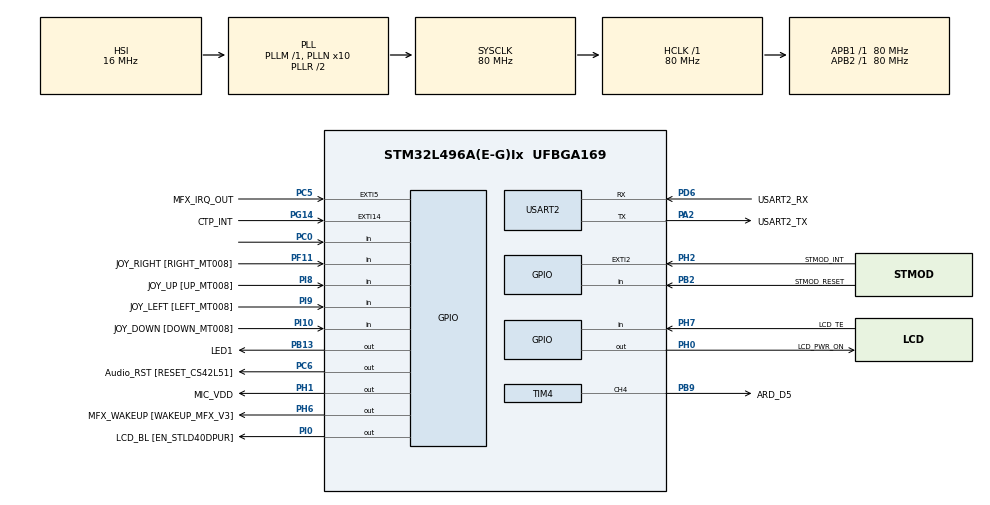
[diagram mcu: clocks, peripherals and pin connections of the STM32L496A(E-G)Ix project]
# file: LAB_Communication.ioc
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Mcu.Family=STM32L4
Mcu.Name=STM32L496A(E-G)Ix
Mcu.Package=UFBGA169
NVIC.PriorityGroup=NVIC_PRIORITYGROUP_4
NVIC.TIM3_IRQn=true\:1\:0\:true\:false\:true\:true\:true
NVIC.USART2_IRQn=true\:0\:0\:false\:false\:true\:true\:true
PA0.GPIO_Label=STMOD_PWM
PA0.Signal=SYS_WKUP1
PA1.GPIO_Label=ARD_A4
PA1.Signal=ADCx_IN6
PA10.GPIO_Label=USB_OTGFS_ID
PA10.Signal=USB_OTG_FS_ID
PA11.GPIO_Label=USB_OTGFS_DM
PA11.Signal=USB_OTG_FS_DM
PA12.GPIO_Label=USB_OTGFS_DP
PA12.Signal=USB_OTG_FS_DP
PA13\ (JTMS/SWDIO).GPIO_Label=SWDIO
PA13\ (JTMS/SWDIO).Mode=Serial_Wire
PA13\ (JTMS/SWDIO).Signal=SYS_JTMS-SWDIO
PA14\ (JTCK/SWCLK).GPIO_Label=SWCLK
PA14\ (JTCK/SWCLK).Mode=Serial_Wire
PA14\ (JTCK/SWCLK).Signal=SYS_JTCK-SWCLK
PA15\ (JTDI).GPIO_Label=ARD_D10
PA15\ (JTDI).Signal=SPI1_NSS
PA2.GPIO_Label=USART2_TX
PA2.Mode=Asynchronous
PA2.Signal=USART2_TX
PA3.GPIO_Label=QSPI_CLK [MX25R6435FM2IL0_SCLK]
PA3.Signal=QUADSPI_CLK
PA4.GPIO_Label=STMOD_ADC
PA4.Signal=ADCx_IN9
PA5.GPIO_Label=ARD_D13
PA5.Signal=SPI1_SCK
PA6.GPIO_Label=QSPI_BK1_IO3 [MX25R6435FM2IL0_SIO3]
PA6.Signal=QUADSPI_BK1_IO3
PA7.GPIO_Label=QSPI_BK1_IO2 [MX25R6435FM2IL0_SIO2]
PA7.Signal=QUADSPI_BK1_IO2
PA8.GPIO_Label=DCMI_CLK
PA8.Signal=LPTIM2_OUT
PA9.GPIO_Label=USB_OTGFS_VBUS
PA9.Signal=USB_OTG_FS_VBUS
PB0.GPIO_Label=QSPI_BK1_IO1 [MX25R6435FM2IL0_SIO1]
PB0.Signal=QUADSPI_BK1_IO1
PB1.GPIO_Label=QSPI_BK1_IO0 [MX25R6435FM2IL0_SIO0]
PB1.Signal=QUADSPI_BK1_IO0
PB10.GPIO_Label=SAI1_CKA [SLCK_CS42L51]
PB10.Signal=SAI1_SCK_A
PB11.GPIO_Label=QSPI_BK1_NCS [MX25R6435FM2IL0_CS]
PB11.Signal=QUADSPI_BK1_NCS
PB12.GPIO_Label=DFDATIN1
PB12.Signal=S_DATAIN1DFSDM1
PB13.GPIO_Label=LED1
PB13.GPIO_ModeDefaultOutputPP=GPIO_MODE_OUTPUT_OD
PB13.GPIO_PuPd=GPIO_NOPULL
PB13.Signal=GPIO_Output
PB14.GPIO_Label=I2C2_SDA [CS42L51_SDA]
PB14.Signal=I2C2_SDA
PB15.GPIO_Label=SPI2_MOSI
PB15.Signal=SPI2_MOSI
PB2.GPIO_Label=STMOD_RESET
PB2.Signal=GPIO_Input
PB3\ (JTDO/TRACESWO).GPIO_Label=SWO
PB3\ (JTDO/TRACESWO).Signal=SYS_JTDO-SWO
PB4\ (NJTRST).GPIO_Label=ARD_D12
PB4\ (NJTRST).Signal=SPI1_MISO
PB5.GPIO_Label=ARD_D11
PB5.Signal=SPI1_MOSI
PB6.GPIO_Label=USART1_TX
PB6.Signal=USART1_TX
PB7.GPIO_Label=I2C1_SDA
PB7.Signal=I2C1_SDA
PB8.GPIO_Label=I2C1_SCL
PB8.Signal=I2C1_SCL
PB9.GPIO_Label=ARD_D5
PB9.Signal=S_TIM4_CH4
PC0.GPIO_PuPd=GPIO_NOPULL
PC0.Signal=GPIO_Input
PC1.Signal=ADCx_IN2
PC10.GPIO_Label=uSD_D2
PC10.Signal=SDMMC1_D2
PC11.GPIO_Label=uSD_D3
PC11.Signal=SDMMC1_D3
PC12.GPIO_Label=uSD_CLK
PC12.Signal=SDMMC1_CK
PC13.GPIO_Label=JOY_SEL [Selection_MT008]
PC13.Signal=SYS_WKUP2
PC14-OSC32_IN\ (PC14).Mode=LSE-External-Oscillator
PC14-OSC32_IN\ (PC14).Signal=RCC_OSC32_IN
PC15-OSC32_OUT\ (PC15).Mode=LSE-External-Oscillator
PC15-OSC32_OUT\ (PC15).Signal=RCC_OSC32_OUT
PC2.GPIO_Label=DF_CKOUT
PC2.Signal=S_CKOUTDFSDM1
PC3.GPIO_Label=ARD_A2
PC3.Signal=ADCx_IN4
PC4.GPIO_Label=ARD_A0
PC4.Signal=ADCx_IN13
PC5.GPIO_Label=MFX_IRQ_OUT
PC5.Signal=GPXTI5
PC6.GPIO_Label=Audio_RST [RESET_CS42L51]
PC6.Signal=GPIO_Output
PC7.GPIO_Label=DATIN3 [DOUT_MP34DT01TR]
PC7.Signal=S_DATAIN3DFSDM1
PC8.GPIO_Label=uSD_D0
PC8.Signal=SDMMC1_D0
PC9.GPIO_Label=uSD_D1
PC9.Signal=SDMMC1_D1
PD0.GPIO_Label=D2 [D2_ IS66WV51216EBLL]
PD0.Signal=FMC_D2_DA2
PD1.GPIO_Label=D3 [D3_IS66WV51216EBLL]
PD1.Signal=FMC_D3_DA3
PD10.GPIO_Label=D15 [D15_IS66WV51216EBLL]
PD10.Signal=FMC_D15_DA15
PD11.GPIO_Label=PSRAM_A16 [A16_IS66WV51216EBLL]
PD11.Signal=FMC_A16_CLE
PD12.GPIO_Label=PSRAM_A17 [A17_IS66WV51216EBLL]
PD12.Signal=FMC_A17_ALE
PD13.GPIO_Label=PSRAM_A18_LCD_RS [A18_IS66WV51216EBLL]
PD13.Signal=FMC_A18
PD14.GPIO_Label=D0 [D0_IS66WV51216EBLL]
PD14.Signal=FMC_D0_DA0
PD15.GPIO_Label=D1 [D1_IS66WV51216EBLL]
PD15.Signal=FMC_D1_DA1
PD2.GPIO_Label=uSD_CMD
PD2.Signal=SDMMC1_CMD
PD4.GPIO_Label=OE [OE_IS66WV51216EBLL]
PD4.Signal=FMC_NOE
PD5.GPIO_Label=WE [WE_IS66WV51216EBLL]
PD5.Signal=FMC_NWE
PD6.GPIO_Label=USART2_RX
PD6.Mode=Asynchronous
PD6.Signal=USART2_RX
PD7.GPIO_Label=LCD_NE
PD7.Signal=FMC_NE1
PD8.GPIO_Label=D13 [D13_IS66WV51216EBLL]
PD8.Signal=FMC_D13_DA13
PD9.GPIO_Label=D14 [D14_IS66WV51216EBLL]
PD9.Signal=FMC_D14_DA14
PE0.GPIO_Label=PSRAM_NBL0 [LB_IS66WV51216EBLL]
PE0.Signal=FMC_NBL0
PE1.GPIO_Label=PSRAM_NBL1 [UB_IS66WV51216EBLL]
PE1.Signal=FMC_NBL1
PE10.GPIO_Label=D7 [D7_IS66WV51216EBLL]
PE10.Signal=FMC_D7_DA7
PE11.GPIO_Label=D8  [D8_IS66WV51216EBLL]
PE11.Signal=FMC_D8_DA8
PE12.GPIO_Label=D9 [D9_IS66WV51216EBLL]
PE12.Signal=FMC_D9_DA9
PE13.GPIO_Label=D10 [D10_IS66WV51216EBLL]
PE13.Signal=FMC_D10_DA10
PE14.GPIO_Label=D11 [D11_IS66WV51216EBLL]
PE14.Signal=FMC_D11_DA11
PE15.GPIO_Label=D12 [D12_IS66WV51216EBLL]
PE15.Signal=FMC_D12_DA12
PE2.GPIO_Label=SAI1_MCKA [MCLK_CS42L51]
PE2.Signal=SAI1_MCLK_A
PE3.GPIO_Label=SAI1_SDB [SDOUT_CS42L51]
PE3.Signal=SAI1_SD_B
PE4.GPIO_Label=SAI1_FSA [LRCK_CS42L51]]
PE4.Signal=SAI1_FS_A
PE5.GPIO_Label=DCMI_D6
PE5.Signal=DCMI_D6
PE6.GPIO_Label=SAI1_SDA [SDIN_CS42L51]
PE6.Signal=SAI1_SD_A
PE7.GPIO_Label=D4 [D4_IS66WV51216EBLL]
PE7.Signal=FMC_D4_DA4
PE8.GPIO_Label=D5 [D5_IS66WV51216EBLL]
PE8.Signal=FMC_D5_DA5
PE9.GPIO_Label=D6 [D6_IS66WV51216EBLL]
PE9.Signal=FMC_D6_DA6
PF0.GPIO_Label=PSRAM_A0 [A0_IS66WV51216EBLL]
PF0.Signal=FMC_A0
PF1.GPIO_Label=PSRAM_A1 [A1_IS66WV51216EBLL]
PF1.Signal=FMC_A1
PF10.GPIO_Label=ARD_A3
PF10.Signal=ADC3_IN13
PF11.GPIO_Label=JOY_RIGHT [RIGHT_MT008]
PF11.GPIO_PuPd=GPIO_PULLDOWN
PF11.Signal=GPIO_Input
PF12.GPIO_Label=PSRAM_A6 [A6_IS66WV51216EBLL]
PF12.Signal=FMC_A6
PF13.GPIO_Label=PSRAM_A7 [A7_IS66WV51216EBLL]
PF13.Signal=FMC_A7
PF14.GPIO_Label=PSRAM_A8 [A8_IS66WV51216EBLL]
PF14.Signal=FMC_A8
PF15.GPIO_Label=PSRAM_A9 [A9_IS66WV51216EBLL]
PF15.Signal=FMC_A9
PF2.GPIO_Label=PSRAM_A2 [A2_IS66WV51216EBLL]
PF2.Signal=FMC_A2
PF3.GPIO_Label=PSRAM_A3 [A3_IS66WV51216EBLL]
PF3.Signal=FMC_A3
PF4.GPIO_Label=PSRAM_A4 [A4_IS66WV51216EBLL]
PF4.Signal=FMC_A4
PF5.GPIO_Label=PSRAM_A5 [A5_IS66WV51216EBLL]
PF5.Signal=FMC_A5
PG0.GPIO_Label=PSRAM_A10 [A10_IS66WV51216EBLL]
PG0.Signal=FMC_A10
PG1.GPIO_Label=PSRAM_A11 [A11_IS66WV51216EBLL]
PG1.Signal=FMC_A11
PG10.GPIO_Label=UART1_RX [STMOD+_UART]
PG10.Signal=USART1_RX
PG11.GPIO_Label=UART1_CTS [STMOD+_UART]
PG11.Signal=USART1_CTS
PG12.GPIO_Label=UART1_RTS [STMOD+_UART]
PG12.Signal=USART1_RTS
PG14.GPIO_Label=CTP_INT
PG14.Signal=GPXTI14
PG2.GPIO_Label=PSRAM_A12 [A12_IS66WV51216EBLL]
PG2.Signal=FMC_A12
PG3.GPIO_Label=PSRAM_A13 [A13_IS66WV51216EBLL]
PG3.Signal=FMC_A13
PG4.GPIO_Label=PSRAM_A14 [A14_IS66WV51216EBLL]
PG4.Signal=FMC_A14
PG5.GPIO_Label=PSRAM_A15 [A15_IS66WV51216EBLL]
PG5.Signal=FMC_A15
PG7.GPIO_Label=ARD_D1
PG7.Signal=LPUART1_TX
PG8.GPIO_Label=ARD_D0
PG8.Signal=LPUART1_RX
PG9.GPIO_Label=PSRAM_NE [CS1_IS66WV51216EBLL]
PG9.Signal=FMC_NE2
PH0-OSC_IN\ (PH0).GPIO_Label=LCD_PWR_ON
PH0-OSC_IN\ (PH0).Signal=GPIO_Output
PH1-OSC_OUT\ (PH1).GPIO_Label=MIC_VDD
PH1-OSC_OUT\ (PH1).Signal=GPIO_Output
PH10.GPIO_Label=DCMI_D1
PH10.Signal=DCMI_D1
PH11.GPIO_Label=DCMI_D2
PH11.Signal=DCMI_D2
PH12.GPIO_Label=DCMI_D3
PH12.Signal=DCMI_D3
PH13.GPIO_Label=ARD_D9
PH13.Signal=TIM8_CH1N
PH14.GPIO_Label=DCMI_D4
PH14.Signal=DCMI_D4
PH15.GPIO_Label=ARD_D3
PH15.Signal=TIM8_CH3N
PH2.GPIO_Label=STMOD_INT
PH2.Signal=GPXTI2
PH4.GPIO_Label=I2C2_SCL [SCL_CS42L51]
PH4.Signal=I2C2_SCL
PH5.GPIO_Label=DCMI_PIXCK
PH5.Signal=DCMI_PIXCLK
PH6.GPIO_Label=MFX_WAKEUP [WAKEUP_MFX_V3]
PH6.Signal=GPIO_Output
PH7.GPIO_Label=LCD_TE
PH7.Signal=GPIO_Input
PH8.GPIO_Label=DCMI_HSYNC
PH8.Signal=DCMI_HSYNC
PH9.GPIO_Label=DCMI_D0
PH9.Signal=DCMI_D0
PI0.GPIO_Label=LCD_BL [EN_STLD40DPUR]
PI0.Signal=GPIO_Output
PI1.GPIO_Label=SPI2_CLK [STMOD+_SPI]
PI1.Signal=SPI2_SCK
PI10.GPIO_Label=JOY_DOWN [DOWN_MT008]
PI10.GPIO_PuPd=GPIO_PULLDOWN
PI10.Signal=GPIO_Input
PI2.GPIO_Label=SPI2_MISO [STMOD+_SPI]
PI2.Signal=SPI2_MISO
PI4.GPIO_Label=DCMI_D5
PI4.Signal=DCMI_D5
PI5.GPIO_Label=DCMI_VSYNC
PI5.Signal=DCMI_VSYNC
PI6.GPIO_Label=ARD_D6
PI6.Signal=S_TIM8_CH2
PI7.GPIO_Label=DCMI_D7
PI7.Signal=DCMI_D7
PI8.GPIO_Label=JOY_UP [UP_MT008]
PI8.GPIO_PuPd=GPIO_PULLDOWN
PI8.Signal=GPIO_Input
PI9.GPIO_Label=JOY_LEFT [LEFT_MT008]
PI9.GPIO_PuPd=GPIO_PULLDOWN
PI9.Signal=GPIO_Input
ProjectManager.HeapSize=0x2000
ProjectManager.StackSize=0x2000
ProjectManager.TargetToolchain=STM32CubeIDE
RCC.ADCFreq_Value=160000000
RCC.AHBFreq_Value=80000000
RCC.APB1Freq_Value=80000000
RCC.APB1TimFreq_Value=80000000
RCC.APB2Freq_Value=80000000
RCC.APB2TimFreq_Value=80000000
RCC.CortexFreq_Value=80000000
RCC.HCLKFreq_Value=80000000
RCC.HSE_VALUE=8000000
RCC.HSI48_VALUE=48000000
RCC.HSI_VALUE=16000000
RCC.MSIClockRange=RCC_MSIRANGE_9
RCC.MSI_VALUE=24000000
RCC.PLLN=10
RCC.PLLSAI1N=20
RCC.PLLSourceVirtual=RCC_PLLSOURCE_HSI
RCC.SYSCLKFreq_VALUE=80000000
RCC.SYSCLKSource=RCC_SYSCLKSOURCE_PLLCLK
RCC.USBFreq_Value=160000000
RCC.VCOOutputFreq_Value=160000000
SH.ADCx_IN13.0=ADC1_IN13
SH.ADCx_IN2.0=ADC2_IN2
SH.ADCx_IN4.0=ADC1_IN4
SH.ADCx_IN6.0=ADC2_IN6
SH.ADCx_IN9.0=ADC2_IN9
SH.FMC_A0.0=FMC_A0
SH.FMC_A1.0=FMC_A1
SH.FMC_A10.0=FMC_A10
SH.FMC_A11.0=FMC_A11
SH.FMC_A12.0=FMC_A12
SH.FMC_A13.0=FMC_A13
SH.FMC_A14.0=FMC_A14
SH.FMC_A15.0=FMC_A15
SH.FMC_A16_CLE.0=FMC_A16
SH.FMC_A17_ALE.0=FMC_A17
SH.FMC_A18.0=FMC_A18
SH.FMC_A2.0=FMC_A2
SH.FMC_A3.0=FMC_A3
SH.FMC_A4.0=FMC_A4
SH.FMC_A5.0=FMC_A5
SH.FMC_A6.0=FMC_A6
SH.FMC_A7.0=FMC_A7
SH.FMC_A8.0=FMC_A8
SH.FMC_A9.0=FMC_A9
SH.FMC_D0_DA0.0=FMC_D0
SH.FMC_D10_DA10.0=FMC_D10
SH.FMC_D11_DA11.0=FMC_D11
SH.FMC_D12_DA12.0=FMC_D12
SH.FMC_D13_DA13.0=FMC_D13
SH.FMC_D14_DA14.0=FMC_D14
SH.FMC_D15_DA15.0=FMC_D15
SH.FMC_D1_DA1.0=FMC_D1
SH.FMC_D2_DA2.0=FMC_D2
SH.FMC_D3_DA3.0=FMC_D3
SH.FMC_D4_DA4.0=FMC_D4
SH.FMC_D5_DA5.0=FMC_D5
SH.FMC_D6_DA6.0=FMC_D6
SH.FMC_D7_DA7.0=FMC_D7
SH.FMC_D8_DA8.0=FMC_D8
SH.FMC_D9_DA9.0=FMC_D9
SH.FMC_NBL0.0=FMC_NBL0
SH.FMC_NBL1.0=FMC_NBL1
SH.FMC_NOE.0=FMC_NOE
SH.FMC_NWE.0=FMC_NWE
SH.S_CKOUTDFSDM1.0=DFSDM1_CKOUT
SH.S_DATAIN1DFSDM1.0=DFSDM1_DATIN1
SH.S_DATAIN3DFSDM1.0=DFSDM1_DATIN3
SH.S_TIM4_CH4.0=TIM4_CH4,PWM Generation4 CH4
SH.S_TIM8_CH2.0=TIM8_CH2
TIM3.Period=9999
TIM3.Prescaler=79
TIM4.Channel-PWM\ Generation4\ CH4=TIM_CHANNEL_4
TIM4.Prescaler=79
TIM4.Pulse-PWM\ Generation4\ CH4=999
USART2.VirtualMode-Asynchronous=VM_ASYNC
VP_TIM3_VS_ClockSourceINT.Mode=Internal
VP_TIM4_VS_ClockSourceINT.Mode=Internal
board=STM32L496G-DISCO

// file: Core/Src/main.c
/* USER CODE BEGIN Header */
/**
  ******************************************************************************
  * @file           : main.c
  * @brief          : Main program body
  ******************************************************************************
  * @attention
  *
  * <h2><center>&copy; Copyright (c) 2021 STMicroelectronics.
  * All rights reserved.</center></h2>
  *
  * This software component is licensed by ST under BSD 3-Clause license,
  * the "License"; You may not use this file except in compliance with the
  * License. You may obtain a copy of the License at:
  *                        opensource.org/licenses/BSD-3-Clause
  *
  ******************************************************************************
  */
/* USER CODE END Header */
#include "main.h"
#include "tim.h"
#include "usart.h"
#include "gpio.h"

/* USER CODE BEGIN Includes */
#include "stdio.h"
#include "string.h"
/* USER CODE END Includes */

/* USER CODE BEGIN PV */
uint8_t prefix[] = "Received Message: ";
uint8_t Txmsg[101] = "";
uint8_t aRxBuff;
int num = 0;
int timerflag = 0;
/* USER CODE END PV */

void SystemClock_Config(void);

/* USER CODE BEGIN 0 */
void HAL_TIM_PeriodElapsedCallback(TIM_HandleTypeDef *htim)
{
	HAL_TIM_Base_Stop_IT(&htim3);
	Txmsg[num++] = (uint8_t)'\r'; Txmsg[num] = (uint8_t)'\n';
	HAL_UART_Transmit_IT(&huart2, prefix, sizeof(prefix));
	while(huart2.gState != HAL_UART_STATE_READY);
	HAL_UART_Transmit_IT(&huart2, Txmsg, sizeof(Txmsg));
	while(huart2.gState != HAL_UART_STATE_READY);
	timerflag = 0; num=0;
	memset(Txmsg, 0, sizeof(Txmsg));
	HAL_GPIO_TogglePin(GPIOB, GPIO_PIN_13);
}
void HAL_UART_RxCpltCallback(UART_HandleTypeDef *huart)
{
    if (huart->Instance == USART2)
    {
    	if (timerflag == 0)
    	{
    		timerflag = 1; HAL_TIM_Base_Start_IT(&htim3);
    	}
    	Txmsg[num++] = aRxBuff;
    	HAL_UART_Receive_IT(&huart2, &aRxBuff, sizeof(aRxBuff));
    }
}
/* USER CODE END 0 */

int main(void)
{

  /* MCU Configuration--------------------------------------------------------*/

  /* Reset of all peripherals, Initializes the Flash interface and the Systick. */
  HAL_Init();

  /* Configure the system clock */
  SystemClock_Config();

  /* Initialize all configured peripherals */
  MX_GPIO_Init();
  MX_TIM3_Init();
  MX_USART2_UART_Init();
  MX_TIM4_Init();
  /* USER CODE BEGIN 2 */
  HAL_UART_Receive_IT(&huart2, &aRxBuff, sizeof(aRxBuff));
  /* USER CODE END 2 */

  /* Infinite loop */
  while (1)
  {

  }
}

void SystemClock_Config(void)
{
  RCC_OscInitTypeDef RCC_OscInitStruct = {0};
  RCC_ClkInitTypeDef RCC_ClkInitStruct = {0};

  /** Configure the main internal regulator output voltage
  */
  if (HAL_PWREx_ControlVoltageScaling(PWR_REGULATOR_VOLTAGE_SCALE1) != HAL_OK)
  {
    Error_Handler();
  }
  /** Initializes the RCC Oscillators according to the specified parameters
  * in the RCC_OscInitTypeDef structure.
  */
  RCC_OscInitStruct.OscillatorType = RCC_OSCILLATORTYPE_HSI;
  RCC_OscInitStruct.HSIState = RCC_HSI_ON;
  RCC_OscInitStruct.HSICalibrationValue = RCC_HSICALIBRATION_DEFAULT;
  RCC_OscInitStruct.PLL.PLLState = RCC_PLL_ON;
  RCC_OscInitStruct.PLL.PLLSource = RCC_PLLSOURCE_HSI;
  RCC_OscInitStruct.PLL.PLLM = 1;
  RCC_OscInitStruct.PLL.PLLN = 10;
  RCC_OscInitStruct.PLL.PLLP = RCC_PLLP_DIV2;
  RCC_OscInitStruct.PLL.PLLQ = RCC_PLLQ_DIV2;
  RCC_OscInitStruct.PLL.PLLR = RCC_PLLR_DIV2;
  if (HAL_RCC_OscConfig(&RCC_OscInitStruct) != HAL_OK)
  {
    Error_Handler();
  }
  /** Initializes the CPU, AHB and APB buses clocks
  */
  RCC_ClkInitStruct.ClockType = RCC_CLOCKTYPE_HCLK|RCC_CLOCKTYPE_SYSCLK
                              |RCC_CLOCKTYPE_PCLK1|RCC_CLOCKTYPE_PCLK2;
  RCC_ClkInitStruct.SYSCLKSource = RCC_SYSCLKSOURCE_PLLCLK;
  RCC_ClkInitStruct.AHBCLKDivider = RCC_SYSCLK_DIV1;
  RCC_ClkInitStruct.APB1CLKDivider = RCC_HCLK_DIV1;
  RCC_ClkInitStruct.APB2CLKDivider = RCC_HCLK_DIV1;

  if (HAL_RCC_ClockConfig(&RCC_ClkInitStruct, FLASH_LATENCY_4) != HAL_OK)
  {
    Error_Handler();
  }
}

void Error_Handler(void)
{
  __disable_irq();
  while (1)
  {
  }
}

/************************ (C) COPYRIGHT STMicroelectronics *****END OF FILE****/
